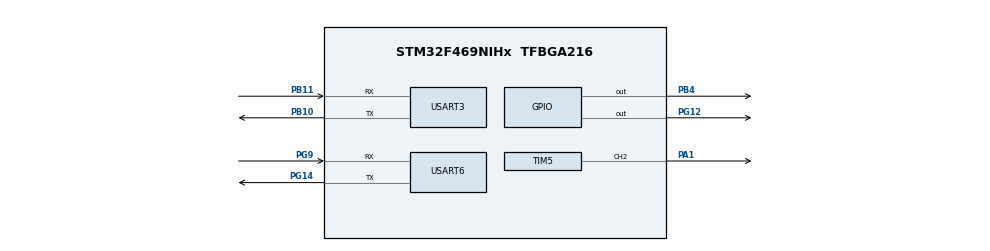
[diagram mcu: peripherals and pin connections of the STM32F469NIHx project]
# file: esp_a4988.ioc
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Mcu.Family=STM32F4
Mcu.Name=STM32F469NIHx
Mcu.Package=TFBGA216
NVIC.PriorityGroup=NVIC_PRIORITYGROUP_4
NVIC.TIM5_IRQn=true\:0\:0\:false\:false\:true\:true
NVIC.USART3_IRQn=true\:0\:0\:false\:false\:true\:true
NVIC.USART6_IRQn=true\:0\:0\:false\:false\:true\:true
PA1.Signal=S_TIM5_CH2
PB10.Mode=Asynchronous
PB10.Signal=USART3_TX
PB11.Mode=Asynchronous
PB11.Signal=USART3_RX
PB4.Signal=GPIO_Output
PG12.Signal=GPIO_Output
PG14.Mode=Asynchronous
PG14.Signal=USART6_TX
PG9.Mode=Asynchronous
PG9.Signal=USART6_RX
PH0/OSC_IN.Mode=HSE-External-Oscillator
PH0/OSC_IN.Signal=RCC_OSC_IN
PH1/OSC_OUT.Mode=HSE-External-Oscillator
PH1/OSC_OUT.Signal=RCC_OSC_OUT
ProjectManager.HeapSize=0x200
ProjectManager.StackSize=0x400
ProjectManager.TargetToolchain=TrueSTUDIO
RCC.CortexFreq_Value=16000000
RCC.VCOOutputFreq_Value=192000000
SH.S_TIM5_CH2.0=TIM5_CH2,PWM Generation2 CH2
TIM5.Channel-PWM\ Generation2\ CH2=TIM_CHANNEL_2
TIM5.Period=1000
TIM5.Prescaler=15
TIM5.Pulse-PWM\ Generation2\ CH2=500
USART3.VirtualMode=VM_ASYNC
USART6.VirtualMode=VM_ASYNC
board=esp_a4988

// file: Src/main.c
/**
  ******************************************************************************
  * @file           : main.c
  * @brief          : Main program body
  ******************************************************************************
  ** This notice applies to any and all portions of this file
  * that are not between comment pairs USER CODE BEGIN and
  * USER CODE END. Other portions of this file, whether
  * inserted by the user or by software development tools
  * are owned by their respective copyright owners.
  *
  * COPYRIGHT(c) 2018 STMicroelectronics
  *
  * Redistribution and use in source and binary forms, with or without modification,
  * are permitted provided that the following conditions are met:
  *   1. Redistributions of source code must retain the above copyright notice,
  *      this list of conditions and the following disclaimer.
  *   2. Redistributions in binary form must reproduce the above copyright notice,
  *      this list of conditions and the following disclaimer in the documentation
  *      and/or other materials provided with the distribution.
  *   3. Neither the name of STMicroelectronics nor the names of its contributors
  *      may be used to endorse or promote products derived from this software
  *      without specific prior written permission.
  *
  * THIS SOFTWARE IS PROVIDED BY THE COPYRIGHT HOLDERS AND CONTRIBUTORS "AS IS"
  * AND ANY EXPRESS OR IMPLIED WARRANTIES, INCLUDING, BUT NOT LIMITED TO, THE
  * IMPLIED WARRANTIES OF MERCHANTABILITY AND FITNESS FOR A PARTICULAR PURPOSE ARE
  * DISCLAIMED. IN NO EVENT SHALL THE COPYRIGHT HOLDER OR CONTRIBUTORS BE LIABLE
  * FOR ANY DIRECT, INDIRECT, INCIDENTAL, SPECIAL, EXEMPLARY, OR CONSEQUENTIAL
  * DAMAGES (INCLUDING, BUT NOT LIMITED TO, PROCUREMENT OF SUBSTITUTE GOODS OR
  * SERVICES; LOSS OF USE, DATA, OR PROFITS; OR BUSINESS INTERRUPTION) HOWEVER
  * CAUSED AND ON ANY THEORY OF LIABILITY, WHETHER IN CONTRACT, STRICT LIABILITY,
  * OR TORT (INCLUDING NEGLIGENCE OR OTHERWISE) ARISING IN ANY WAY OUT OF THE USE
  * OF THIS SOFTWARE, EVEN IF ADVISED OF THE POSSIBILITY OF SUCH DAMAGE.
  *
  ******************************************************************************
  */
#include "main.h"
#include "stm32f4xx_hal.h"

TIM_HandleTypeDef htim5;

UART_HandleTypeDef huart3;
UART_HandleTypeDef huart6;

/* USER CODE BEGIN PV */
/* Private variables ---------------------------------------------------------*/

/* USER CODE END PV */

void SystemClock_Config(void);
static void MX_GPIO_Init(void);
static void MX_USART3_UART_Init(void);
static void MX_USART6_UART_Init(void);
static void MX_TIM5_Init(void);
void HAL_TIM_MspPostInit(TIM_HandleTypeDef *htim);

/* USER CODE BEGIN PFP */
/* Private function prototypes -----------------------------------------------*/
char rx6_buf[100],rx6_data;
int rx6_index=-1;
char rx3_buf[100],rx3_data;
int rx3_index=-1;
/* USER CODE END PFP */

/* USER CODE BEGIN 0 */
void HAL_UART_RxCpltCallback(UART_HandleTypeDef *huart){
	if(huart->Instance==USART3){
		if(rx3_data=='U'){
			HAL_GPIO_WritePin(GPIOG,GPIO_PIN_12,1);
			HAL_TIM_PWM_Start_IT(&htim5,TIM_CHANNEL_2);
		}else if(rx3_data=='D'){
			HAL_GPIO_WritePin(GPIOG,GPIO_PIN_12,0);
			HAL_TIM_PWM_Start_IT(&htim5,TIM_CHANNEL_2);
		}
		HAL_UART_Receive_IT(&huart3,&rx3_data,1);

	}
	if(huart->Instance==USART6){
		  if(rx6_index==0){
				for(int i=0;i<100;i++){
					rx6_buf[i]=0;
				}
			}
		  rx6_buf[rx6_index++]=rx6_data;
		  if((rx6_buf[rx6_index-4]=='O'&&rx6_buf[rx6_index-3]=='K')||(rx6_buf[rx6_index-5]=='R'&&rx6_buf[rx6_index-4]=='O'&&rx6_buf[rx6_index-3]=='R')||(rx6_buf[rx6_index-5]=='E'&&rx6_buf[rx6_index-4]=='C'&&rx6_buf[rx6_index-3]=='T')||rx6_buf[rx6_index-1]=='%'){

			  char tosend[100]={0};
			  sprintf(tosend,"\r\nESP8266:\r\n%s",rx6_buf);
			  HAL_UART_Transmit(&huart3,&tosend,sizeof(tosend),0xffff);
			  if(rx6_buf[rx6_index-1]=='%'){
					HAL_UART_Transmit(&huart3,"start\r\n",7,0xffff);
					HAL_GPIO_WritePin(GPIOG,GPIO_PIN_12,rx6_buf[rx6_index-2]-'0');
					HAL_TIM_PWM_Start_IT(&htim5,TIM_CHANNEL_2);
			  }
			rx6_index=0;
		  }

		HAL_UART_Receive_IT(&huart6,&rx6_data,1);

	}
}
int pwmCount=0;
void HAL_TIM_PWM_PulseFinishedCallback(TIM_HandleTypeDef *htim){
	if(htim->Instance==TIM5){
		if(pwmCount++>=200){
			HAL_TIM_PWM_Stop_IT(&htim5,TIM_CHANNEL_2);
			HAL_UART_Transmit(&huart3,"stop\r\n",6,0xffff);
			pwmCount=0;
		}
	}
}
/* USER CODE END 0 */

int main(void)
{

  /* MCU Configuration----------------------------------------------------------*/

  /* Reset of all peripherals, Initializes the Flash interface and the Systick. */
  HAL_Init();

  /* Configure the system clock */
  SystemClock_Config();

  /* Initialize all configured peripherals */
  MX_GPIO_Init();
  MX_USART3_UART_Init();
  MX_USART6_UART_Init();
  MX_TIM5_Init();
  /* USER CODE BEGIN 2 */
  HAL_UART_Receive_IT(&huart6,&rx6_data,1);
  HAL_UART_Receive_IT(&huart3,&rx3_data,1);

  char tosend[100]={0};
  HAL_Delay(500);
  sprintf(tosend,"AT\r\n");
  HAL_UART_Transmit(&huart6,tosend,sizeof(tosend),0xffff);
  HAL_Delay(500);
  sprintf(tosend,"AT+CWMODE=2\r\n");
  HAL_UART_Transmit(&huart6,tosend,sizeof(tosend),0xffff);
  HAL_Delay(500);
  sprintf(tosend,"AT+CIPMUX=1\r\n");
  HAL_UART_Transmit(&huart6,tosend,sizeof(tosend),0xffff);
  HAL_Delay(500);
  sprintf(tosend,"AT+CIPSERVER=1,66\r\n");
  HAL_UART_Transmit(&huart6,tosend,sizeof(tosend),0xffff);

  TIM5->CCR2=500;
  /* USER CODE END 2 */

  /* Infinite loop */
  while (1)
  {

  }

}

void SystemClock_Config(void)
{

  RCC_OscInitTypeDef RCC_OscInitStruct;
  RCC_ClkInitTypeDef RCC_ClkInitStruct;

    /**Configure the main internal regulator output voltage
    */
  __HAL_RCC_PWR_CLK_ENABLE();

  __HAL_PWR_VOLTAGESCALING_CONFIG(PWR_REGULATOR_VOLTAGE_SCALE3);

    /**Initializes the CPU, AHB and APB busses clocks
    */
  RCC_OscInitStruct.OscillatorType = RCC_OSCILLATORTYPE_HSI;
  RCC_OscInitStruct.HSIState = RCC_HSI_ON;
  RCC_OscInitStruct.HSICalibrationValue = 16;
  RCC_OscInitStruct.PLL.PLLState = RCC_PLL_NONE;
  if (HAL_RCC_OscConfig(&RCC_OscInitStruct) != HAL_OK)
  {
    _Error_Handler(__FILE__, __LINE__);
  }

    /**Initializes the CPU, AHB and APB busses clocks
    */
  RCC_ClkInitStruct.ClockType = RCC_CLOCKTYPE_HCLK|RCC_CLOCKTYPE_SYSCLK
                              |RCC_CLOCKTYPE_PCLK1|RCC_CLOCKTYPE_PCLK2;
  RCC_ClkInitStruct.SYSCLKSource = RCC_SYSCLKSOURCE_HSI;
  RCC_ClkInitStruct.AHBCLKDivider = RCC_SYSCLK_DIV1;
  RCC_ClkInitStruct.APB1CLKDivider = RCC_HCLK_DIV1;
  RCC_ClkInitStruct.APB2CLKDivider = RCC_HCLK_DIV1;

  if (HAL_RCC_ClockConfig(&RCC_ClkInitStruct, FLASH_LATENCY_0) != HAL_OK)
  {
    _Error_Handler(__FILE__, __LINE__);
  }

    /**Configure the Systick interrupt time
    */
  HAL_SYSTICK_Config(HAL_RCC_GetHCLKFreq()/1000);

    /**Configure the Systick
    */
  HAL_SYSTICK_CLKSourceConfig(SYSTICK_CLKSOURCE_HCLK);

  /* SysTick_IRQn interrupt configuration */
  HAL_NVIC_SetPriority(SysTick_IRQn, 0, 0);
}

/* TIM5 init function */
static void MX_TIM5_Init(void)
{

  TIM_MasterConfigTypeDef sMasterConfig;
  TIM_OC_InitTypeDef sConfigOC;

  htim5.Instance = TIM5;
  htim5.Init.Prescaler = 15;
  htim5.Init.CounterMode = TIM_COUNTERMODE_UP;
  htim5.Init.Period = 1000;
  htim5.Init.ClockDivision = TIM_CLOCKDIVISION_DIV1;
  if (HAL_TIM_PWM_Init(&htim5) != HAL_OK)
  {
    _Error_Handler(__FILE__, __LINE__);
  }

  sMasterConfig.MasterOutputTrigger = TIM_TRGO_RESET;
  sMasterConfig.MasterSlaveMode = TIM_MASTERSLAVEMODE_DISABLE;
  if (HAL_TIMEx_MasterConfigSynchronization(&htim5, &sMasterConfig) != HAL_OK)
  {
    _Error_Handler(__FILE__, __LINE__);
  }

  sConfigOC.OCMode = TIM_OCMODE_PWM1;
  sConfigOC.Pulse = 500;
  sConfigOC.OCPolarity = TIM_OCPOLARITY_HIGH;
  sConfigOC.OCFastMode = TIM_OCFAST_DISABLE;
  if (HAL_TIM_PWM_ConfigChannel(&htim5, &sConfigOC, TIM_CHANNEL_2) != HAL_OK)
  {
    _Error_Handler(__FILE__, __LINE__);
  }

  HAL_TIM_MspPostInit(&htim5);

}

/* USART3 init function */
static void MX_USART3_UART_Init(void)
{

  huart3.Instance = USART3;
  huart3.Init.BaudRate = 115200;
  huart3.Init.WordLength = UART_WORDLENGTH_8B;
  huart3.Init.StopBits = UART_STOPBITS_1;
  huart3.Init.Parity = UART_PARITY_NONE;
  huart3.Init.Mode = UART_MODE_TX_RX;
  huart3.Init.HwFlowCtl = UART_HWCONTROL_NONE;
  huart3.Init.OverSampling = UART_OVERSAMPLING_16;
  if (HAL_UART_Init(&huart3) != HAL_OK)
  {
    _Error_Handler(__FILE__, __LINE__);
  }

}

/* USART6 init function */
static void MX_USART6_UART_Init(void)
{

  huart6.Instance = USART6;
  huart6.Init.BaudRate = 115200;
  huart6.Init.WordLength = UART_WORDLENGTH_8B;
  huart6.Init.StopBits = UART_STOPBITS_1;
  huart6.Init.Parity = UART_PARITY_NONE;
  huart6.Init.Mode = UART_MODE_TX_RX;
  huart6.Init.HwFlowCtl = UART_HWCONTROL_NONE;
  huart6.Init.OverSampling = UART_OVERSAMPLING_16;
  if (HAL_UART_Init(&huart6) != HAL_OK)
  {
    _Error_Handler(__FILE__, __LINE__);
  }

}

/** Configure pins as
        * Analog
        * Input
        * Output
        * EVENT_OUT
        * EXTI
*/
static void MX_GPIO_Init(void)
{

  GPIO_InitTypeDef GPIO_InitStruct;

  /* GPIO Ports Clock Enable */
  __HAL_RCC_GPIOG_CLK_ENABLE();
  __HAL_RCC_GPIOB_CLK_ENABLE();
  __HAL_RCC_GPIOH_CLK_ENABLE();
  __HAL_RCC_GPIOA_CLK_ENABLE();

  /*Configure GPIO pin Output Level */
  HAL_GPIO_WritePin(GPIOB, GPIO_PIN_4, GPIO_PIN_RESET);

  /*Configure GPIO pin Output Level */
  HAL_GPIO_WritePin(GPIOG, GPIO_PIN_12, GPIO_PIN_RESET);

  /*Configure GPIO pin : PB4 */
  GPIO_InitStruct.Pin = GPIO_PIN_4;
  GPIO_InitStruct.Mode = GPIO_MODE_OUTPUT_PP;
  GPIO_InitStruct.Pull = GPIO_NOPULL;
  GPIO_InitStruct.Speed = GPIO_SPEED_FREQ_LOW;
  HAL_GPIO_Init(GPIOB, &GPIO_InitStruct);

  /*Configure GPIO pin : PG12 */
  GPIO_InitStruct.Pin = GPIO_PIN_12;
  GPIO_InitStruct.Mode = GPIO_MODE_OUTPUT_PP;
  GPIO_InitStruct.Pull = GPIO_NOPULL;
  GPIO_InitStruct.Speed = GPIO_SPEED_FREQ_LOW;
  HAL_GPIO_Init(GPIOG, &GPIO_InitStruct);

}

void _Error_Handler(char *file, int line)
{
  while(1)
  {
  }
}

/************************ (C) COPYRIGHT STMicroelectronics *****END OF FILE****/
